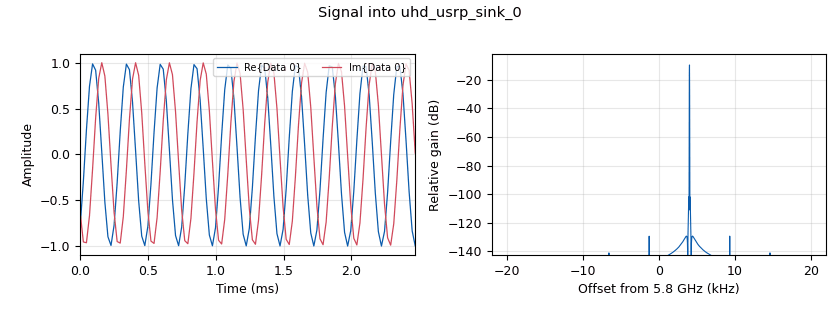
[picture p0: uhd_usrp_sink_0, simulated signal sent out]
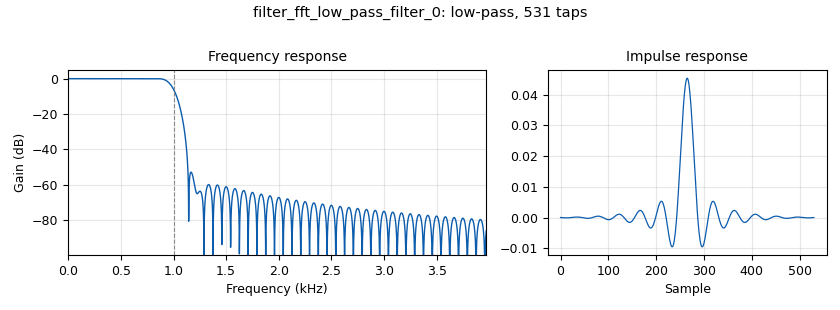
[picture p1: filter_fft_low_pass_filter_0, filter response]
options:
  parameters:
    generate_options: qt_gui
    id: GNUTest
    output_language: python
    title: Not titled yet
  states: {}

blocks:
- name: samp_rate
  id: variable
  parameters:
    value: '44100'
  states: {}
- name: analog_sig_source_x_0
  id: analog_sig_source_x
  parameters:
    amp: '1'
    freq: '4000'
    offset: '0'
    phase: '0'
    samp_rate: samp_rate
    type: complex
    waveform: analog.GR_COS_WAVE
  states: {}
- name: blocks_complex_to_float_0
  id: blocks_complex_to_float
  parameters: {}
  states: {}
- name: blocks_multiply_conjugate_cc_0
  id: blocks_multiply_conjugate_cc
  parameters: {}
  states: {}
- name: blocks_wavfile_sink_0
  id: blocks_wavfile_sink
  parameters:
    bits_per_sample1: FORMAT_PCM_16
    file: C:\Users\jonne\OneDrive\Documents\University\Master\P5\RADAR\radar_project\COTS\audacity_recordings\SDR_CWIF_BREATHING_JONNE2_REAL.wav
    format: FORMAT_WAV
    samp_rate: '44100'
  states: {}
- name: blocks_wavfile_sink_1
  id: blocks_wavfile_sink
  parameters:
    bits_per_sample1: FORMAT_PCM_16
    file: C:\Users\jonne\OneDrive\Documents\University\Master\P5\RADAR\radar_project\COTS\audacity_recordings\SDR_CWIF_BREATHING_JONNE2_IMAG.wav
    format: FORMAT_WAV
    samp_rate: '44100'
  states: {}
- name: filter_fft_low_pass_filter_0
  id: filter_fft_low_pass_filter
  parameters:
    cutoff_freq: '1000'
    decim: '1'
    gain: '1'
    samp_rate: samp_rate
    type: ccc
    width: '200'
    win: window.WIN_HAMMING
  states: {}
- name: qtgui_waterfall_sink_x_0
  id: qtgui_waterfall_sink_x
  parameters:
    bw: samp_rate
    fc: '0'
    fftsize: '1024'
    type: float
  states: {}
- name: qtgui_waterfall_sink_x_1
  id: qtgui_waterfall_sink_x
  parameters:
    bw: samp_rate
    fc: '0'
    fftsize: '1024'
    type: float
  states: {}
- name: uhd_usrp_sink_0
  id: uhd_usrp_sink
  parameters:
    ant0: '"TX/RX"'
    center_freq0: '5800000000'
    gain0: '45'
    samp_rate: samp_rate
    sync: sync
    type: fc32
  states: {}
- name: uhd_usrp_source_0
  id: uhd_usrp_source
  parameters:
    ant0: '"RX2"'
    center_freq0: '5800000000'
    gain0: '45'
    samp_rate: samp_rate
    sync: sync
    type: fc32
  states: {}

connections:
- [analog_sig_source_x_0, '0', blocks_multiply_conjugate_cc_0, '1']
- [analog_sig_source_x_0, '0', uhd_usrp_sink_0, '0']
- [blocks_complex_to_float_0, '0', blocks_wavfile_sink_0, '0']
- [blocks_complex_to_float_0, '0', qtgui_waterfall_sink_x_1, '0']
- [blocks_complex_to_float_0, '1', blocks_wavfile_sink_1, '0']
- [blocks_complex_to_float_0, '1', qtgui_waterfall_sink_x_0, '0']
- [blocks_multiply_conjugate_cc_0, '0', filter_fft_low_pass_filter_0, '0']
- [filter_fft_low_pass_filter_0, '0', blocks_complex_to_float_0, '0']
- [uhd_usrp_source_0, '0', blocks_multiply_conjugate_cc_0, '0']

metadata:
  file_format: 1
  grc_version: 3.10.3.0
